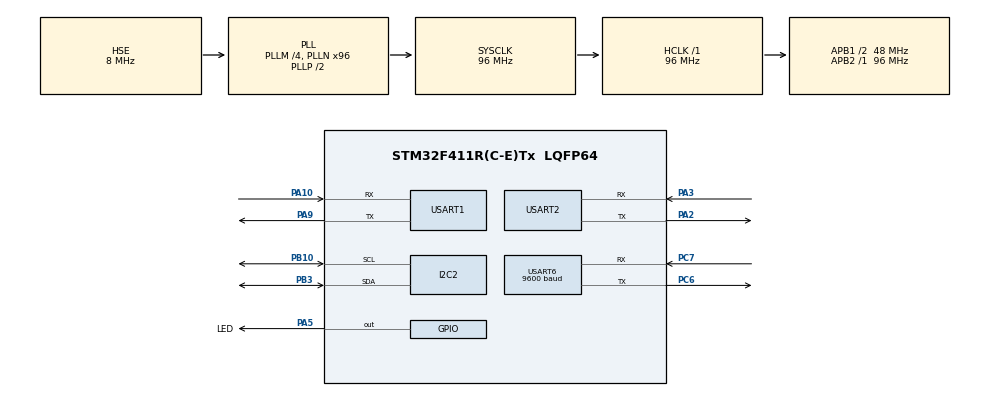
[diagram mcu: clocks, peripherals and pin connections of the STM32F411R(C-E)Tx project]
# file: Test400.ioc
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Dma.Request0=USART2_TX
Dma.USART2_TX.0.Direction=DMA_MEMORY_TO_PERIPH
Dma.USART2_TX.0.FIFOMode=DMA_FIFOMODE_DISABLE
Dma.USART2_TX.0.Instance=DMA1_Stream6
Dma.USART2_TX.0.MemDataAlignment=DMA_MDATAALIGN_BYTE
Dma.USART2_TX.0.MemInc=DMA_MINC_ENABLE
Dma.USART2_TX.0.Mode=DMA_NORMAL
Dma.USART2_TX.0.PeriphDataAlignment=DMA_PDATAALIGN_BYTE
Dma.USART2_TX.0.PeriphInc=DMA_PINC_DISABLE
Dma.USART2_TX.0.Priority=DMA_PRIORITY_LOW
FREERTOS.INCLUDE_xEventGroupSetBitFromISR=1
FREERTOS.INCLUDE_xTimerPendFunctionCall=1
FREERTOS.Tasks01=defaultTask,0,128,StartDefaultTask,Default,NULL,Dynamic,NULL,NULL;ReadMLX90615,0,128,TsReadMLX90615,Default,NULL,Dynamic,NULL,NULL
FREERTOS.Timers01=myTimer01,Callback01,osTimerPeriodic,Default,NULL,Dynamic,NULL
FREERTOS.configCHECK_FOR_STACK_OVERFLOW=2
FREERTOS.configENABLE_BACKWARD_COMPATIBILITY=0
FREERTOS.configGENERATE_RUN_TIME_STATS=1
FREERTOS.configMINIMAL_STACK_SIZE=128
FREERTOS.configTIMER_TASK_PRIORITY=2
FREERTOS.configUSE_MALLOC_FAILED_HOOK=1
FREERTOS.configUSE_STATS_FORMATTING_FUNCTIONS=0
FREERTOS.configUSE_TIMERS=1
FREERTOS.configUSE_TRACE_FACILITY=1
Mcu.Family=STM32F4
Mcu.Name=STM32F411R(C-E)Tx
Mcu.Package=LQFP64
NVIC.DMA1_Stream6_IRQn=true\:5\:0\:false\:false\:true\:true\:false
NVIC.I2C2_ER_IRQn=true\:5\:0\:false\:false\:true\:true\:true
NVIC.I2C2_EV_IRQn=true\:6\:0\:true\:false\:true\:true\:true
NVIC.PriorityGroup=NVIC_PRIORITYGROUP_4
NVIC.TIM1_TRG_COM_TIM11_IRQn=true\:0\:0\:false\:false\:true\:false\:false
NVIC.TimeBase=TIM1_TRG_COM_TIM11_IRQn
NVIC.TimeBaseIP=TIM11
NVIC.USART2_IRQn=true\:5\:0\:false\:false\:true\:true\:true
NVIC.USART6_IRQn=true\:5\:0\:false\:false\:true\:true\:true
PA10.Mode=Asynchronous
PA10.Signal=USART1_RX
PA2.Mode=Asynchronous
PA2.Signal=USART2_TX
PA3.Mode=Asynchronous
PA3.Signal=USART2_RX
PA5.GPIO_Label=LED
PA5.Signal=GPIO_Output
PA9.Mode=Asynchronous
PA9.Signal=USART1_TX
PB10.GPIO_PuPdOD=GPIO_NOPULL
PB10.Mode=I2C
PB10.Signal=I2C2_SCL
PB3.GPIO_PuPdOD=GPIO_NOPULL
PB3.Mode=I2C
PB3.Signal=I2C2_SDA
PC6.Mode=Asynchronous
PC6.Signal=USART6_TX
PC7.Mode=Asynchronous
PC7.Signal=USART6_RX
PH0\ -\ OSC_IN.Mode=HSE-External-Oscillator
PH0\ -\ OSC_IN.Signal=RCC_OSC_IN
PH1\ -\ OSC_OUT.Mode=HSE-External-Oscillator
PH1\ -\ OSC_OUT.Signal=RCC_OSC_OUT
ProjectManager.HeapSize=0x200
ProjectManager.StackSize=0x400
ProjectManager.TargetToolchain=SW4STM32
RCC.48MHZClocksFreq_Value=48000000
RCC.AHBFreq_Value=96000000
RCC.APB1CLKDivider=RCC_HCLK_DIV2
RCC.APB1Freq_Value=48000000
RCC.APB1TimFreq_Value=96000000
RCC.APB2Freq_Value=96000000
RCC.APB2TimFreq_Value=96000000
RCC.CortexFreq_Value=96000000
RCC.HCLKFreq_Value=96000000
RCC.HSE_VALUE=8000000
RCC.HSI_VALUE=16000000
RCC.LSE_VALUE=32768
RCC.PLLM=4
RCC.PLLN=96
RCC.PLLSourceVirtual=RCC_PLLSOURCE_HSE
RCC.SYSCLKFreq_VALUE=96000000
RCC.SYSCLKSource=RCC_SYSCLKSOURCE_PLLCLK
RCC.VCOOutputFreq_Value=192000000
TIM2.Period=0xffffffff
TIM2.Prescaler=960
USART1.VirtualMode=VM_ASYNC
USART2.VirtualMode=VM_ASYNC
USART6.BaudRate=9600
USART6.Mode=MODE_RX
USART6.VirtualMode=VM_ASYNC
VP_FREERTOS_VS_ENABLE.Mode=Enabled
VP_SYS_VS_tim11.Mode=TIM11
VP_TIM2_VS_ClockSourceINT.Mode=Internal
board=Test400

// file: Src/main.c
/**
  ******************************************************************************
  * File Name          : main.c
  * Description        : Main program body
  ******************************************************************************
  * This notice applies to any and all portions of this file
  * that are not between comment pairs USER CODE BEGIN and
  * USER CODE END. Other portions of this file, whether
  * inserted by the user or by software development tools
  * are owned by their respective copyright owners.
  *
  * Copyright (c) 2017 STMicroelectronics International N.V.
  * All rights reserved.
  *
  * Redistribution and use in source and binary forms, with or without
  * modification, are permitted, provided that the following conditions are met:
  *
  * 1. Redistribution of source code must retain the above copyright notice,
  *    this list of conditions and the following disclaimer.
  * 2. Redistributions in binary form must reproduce the above copyright notice,
  *    this list of conditions and the following disclaimer in the documentation
  *    and/or other materials provided with the distribution.
  * 3. Neither the name of STMicroelectronics nor the names of other
  *    contributors to this software may be used to endorse or promote products
  *    derived from this software without specific written permission.
  * 4. This software, including modifications and/or derivative works of this
  *    software, must execute solely and exclusively on microcontroller or
  *    microprocessor devices manufactured by or for STMicroelectronics.
  * 5. Redistribution and use of this software other than as permitted under
  *    this license is void and will automatically terminate your rights under
  *    this license.
  *
  * THIS SOFTWARE IS PROVIDED BY STMICROELECTRONICS AND CONTRIBUTORS "AS IS"
  * AND ANY EXPRESS, IMPLIED OR STATUTORY WARRANTIES, INCLUDING, BUT NOT
  * LIMITED TO, THE IMPLIED WARRANTIES OF MERCHANTABILITY, FITNESS FOR A
  * PARTICULAR PURPOSE AND NON-INFRINGEMENT OF THIRD PARTY INTELLECTUAL PROPERTY
  * RIGHTS ARE DISCLAIMED TO THE FULLEST EXTENT PERMITTED BY LAW. IN NO EVENT
  * SHALL STMICROELECTRONICS OR CONTRIBUTORS BE LIABLE FOR ANY DIRECT, INDIRECT,
  * INCIDENTAL, SPECIAL, EXEMPLARY, OR CONSEQUENTIAL DAMAGES (INCLUDING, BUT NOT
  * LIMITED TO, PROCUREMENT OF SUBSTITUTE GOODS OR SERVICES; LOSS OF USE, DATA,
  * OR PROFITS; OR BUSINESS INTERRUPTION) HOWEVER CAUSED AND ON ANY THEORY OF
  * LIABILITY, WHETHER IN CONTRACT, STRICT LIABILITY, OR TORT (INCLUDING
  * NEGLIGENCE OR OTHERWISE) ARISING IN ANY WAY OUT OF THE USE OF THIS SOFTWARE,
  * EVEN IF ADVISED OF THE POSSIBILITY OF SUCH DAMAGE.
  *
  ******************************************************************************
  */

#include "main.h"
#include "stm32f4xx_hal.h"
#include "cmsis_os.h"

/* USER CODE BEGIN Includes */
#include <StdIoConnectorRTOS.h>
#include <HIH8000.h>
#include "RTOSStatistics.h"
#include "task.h"
#include "event_groups.h"
/* USER CODE END Includes */

I2C_HandleTypeDef hi2c2;

TIM_HandleTypeDef htim2;

UART_HandleTypeDef huart1;
UART_HandleTypeDef huart2;
UART_HandleTypeDef huart6;
DMA_HandleTypeDef hdma_usart2_tx;

osThreadId defaultTaskHandle;
osThreadId ReadMLX90615Handle;
osTimerId myTimer01Handle;

/* USER CODE BEGIN PV */
/* Private variables ---------------------------------------------------------*/
osThreadId EchoTaskHandle;
osMessageQId RxQueueHandle;
SemaphoreHandle_t mtI2C2;
uint16_t cntr;
/* USER CODE END PV */

void SystemClock_Config(void);
static void MX_GPIO_Init(void);
static void MX_DMA_Init(void);
static void MX_USART2_UART_Init(void);
static void MX_I2C2_Init(void);
static void MX_USART1_UART_Init(void);
static void MX_TIM2_Init(void);
static void MX_USART6_UART_Init(void);
void StartDefaultTask(void const * argument);
void TsReadMLX90615(void const * argument);
void Callback01(void const * argument);

/* USER CODE BEGIN PFP */
/* Private function prototypes -----------------------------------------------*/
void EchoTask(void const * argument);

void vAssertCalled( const char *pcFile, uint32_t ulLine );
void vApplicationMallocFailedHook(void);
void vApplicationStackOverflowHook(TaskHandle_t xTask, signed char *pcTaskName);
/* USER CODE END PFP */

int main(void)
{

  /* MCU Configuration----------------------------------------------------------*/

  /* Reset of all peripherals, Initializes the Flash interface and the Systick. */
  HAL_Init();

  /* Configure the system clock */
  SystemClock_Config();

  /* Initialize all configured peripherals */
  MX_GPIO_Init();
  MX_DMA_Init();
  MX_USART2_UART_Init();
  MX_I2C2_Init();
  MX_USART1_UART_Init();
  MX_TIM2_Init();
  MX_USART6_UART_Init();

  /* USER CODE BEGIN RTOS_MUTEX */
  mtI2C2 = xSemaphoreCreateMutex();
  configASSERT( mtI2C2 != NULL);
  /* USER CODE END RTOS_MUTEX */

  /* Create the timer(s) */
  /* definition and creation of myTimer01 */
  osTimerDef(myTimer01, Callback01);
  myTimer01Handle = osTimerCreate(osTimer(myTimer01), osTimerPeriodic, NULL);

  /* USER CODE BEGIN RTOS_TIMERS */
  xTimerChangePeriod(myTimer01Handle,1000,100);
  /* USER CODE END RTOS_TIMERS */

  /* Create the thread(s) */
  /* definition and creation of defaultTask */
  osThreadDef(defaultTask, StartDefaultTask, osPriorityNormal, 0, 128);
  defaultTaskHandle = osThreadCreate(osThread(defaultTask), NULL);

  /* definition and creation of ReadMLX90615 */
  osThreadDef(ReadMLX90615, TsReadMLX90615, osPriorityNormal, 0, 128);
  ReadMLX90615Handle = osThreadCreate(osThread(ReadMLX90615), NULL);

  /* USER CODE BEGIN RTOS_THREADS */
  	  xTaskCreate(
  			  (TaskFunction_t)EchoTask,
			  "Console Echo",
			  128,
			  NULL,
			  4,
			  &EchoTaskHandle);

  /* add threads, ... */
  /* USER CODE END RTOS_THREADS */

  /* USER CODE BEGIN RTOS_QUEUES */
  SIOC_InitDiag(&huart1);

  RxQueueHandle = xQueueCreate( 32, sizeof(uint8_t));
  SIOC_Init(&huart2, RxQueueHandle);

  HIH8000_Init(&hi2c2);
  RTOSStatisticsInit(&htim2);

  /* USER CODE END RTOS_QUEUES */

  /* Start scheduler */
  osKernelStart();

  /* We should never get here as control is now taken by the scheduler */

  /* Infinite loop */
  while (1)
  {

  }

}

/** System Clock Configuration
*/
void SystemClock_Config(void)
{

  RCC_OscInitTypeDef RCC_OscInitStruct;
  RCC_ClkInitTypeDef RCC_ClkInitStruct;

    /**Configure the main internal regulator output voltage
    */
  __HAL_RCC_PWR_CLK_ENABLE();

  __HAL_PWR_VOLTAGESCALING_CONFIG(PWR_REGULATOR_VOLTAGE_SCALE1);

    /**Initializes the CPU, AHB and APB busses clocks
    */
  RCC_OscInitStruct.OscillatorType = RCC_OSCILLATORTYPE_HSE;
  RCC_OscInitStruct.HSEState = RCC_HSE_ON;
  RCC_OscInitStruct.PLL.PLLState = RCC_PLL_ON;
  RCC_OscInitStruct.PLL.PLLSource = RCC_PLLSOURCE_HSE;
  RCC_OscInitStruct.PLL.PLLM = 4;
  RCC_OscInitStruct.PLL.PLLN = 96;
  RCC_OscInitStruct.PLL.PLLP = RCC_PLLP_DIV2;
  RCC_OscInitStruct.PLL.PLLQ = 4;
  if (HAL_RCC_OscConfig(&RCC_OscInitStruct) != HAL_OK)
  {
    _Error_Handler(__FILE__, __LINE__);
  }

    /**Initializes the CPU, AHB and APB busses clocks
    */
  RCC_ClkInitStruct.ClockType = RCC_CLOCKTYPE_HCLK|RCC_CLOCKTYPE_SYSCLK
                              |RCC_CLOCKTYPE_PCLK1|RCC_CLOCKTYPE_PCLK2;
  RCC_ClkInitStruct.SYSCLKSource = RCC_SYSCLKSOURCE_PLLCLK;
  RCC_ClkInitStruct.AHBCLKDivider = RCC_SYSCLK_DIV1;
  RCC_ClkInitStruct.APB1CLKDivider = RCC_HCLK_DIV2;
  RCC_ClkInitStruct.APB2CLKDivider = RCC_HCLK_DIV1;

  if (HAL_RCC_ClockConfig(&RCC_ClkInitStruct, FLASH_LATENCY_3) != HAL_OK)
  {
    _Error_Handler(__FILE__, __LINE__);
  }

    /**Configure the Systick interrupt time
    */
  HAL_SYSTICK_Config(HAL_RCC_GetHCLKFreq()/1000);

    /**Configure the Systick
    */
  HAL_SYSTICK_CLKSourceConfig(SYSTICK_CLKSOURCE_HCLK);

  /* SysTick_IRQn interrupt configuration */
  HAL_NVIC_SetPriority(SysTick_IRQn, 15, 0);
}

/* I2C2 init function */
static void MX_I2C2_Init(void)
{

  hi2c2.Instance = I2C2;
  hi2c2.Init.ClockSpeed = 100000;
  hi2c2.Init.DutyCycle = I2C_DUTYCYCLE_2;
  hi2c2.Init.OwnAddress1 = 0;
  hi2c2.Init.AddressingMode = I2C_ADDRESSINGMODE_7BIT;
  hi2c2.Init.DualAddressMode = I2C_DUALADDRESS_DISABLE;
  hi2c2.Init.OwnAddress2 = 0;
  hi2c2.Init.GeneralCallMode = I2C_GENERALCALL_DISABLE;
  hi2c2.Init.NoStretchMode = I2C_NOSTRETCH_DISABLE;
  if (HAL_I2C_Init(&hi2c2) != HAL_OK)
  {
    _Error_Handler(__FILE__, __LINE__);
  }

}

/* TIM2 init function */
static void MX_TIM2_Init(void)
{

  TIM_ClockConfigTypeDef sClockSourceConfig;
  TIM_MasterConfigTypeDef sMasterConfig;

  htim2.Instance = TIM2;
  htim2.Init.Prescaler = 960;
  htim2.Init.CounterMode = TIM_COUNTERMODE_UP;
  htim2.Init.Period = 0xffffffff;
  htim2.Init.ClockDivision = TIM_CLOCKDIVISION_DIV1;
  if (HAL_TIM_Base_Init(&htim2) != HAL_OK)
  {
    _Error_Handler(__FILE__, __LINE__);
  }

  sClockSourceConfig.ClockSource = TIM_CLOCKSOURCE_INTERNAL;
  if (HAL_TIM_ConfigClockSource(&htim2, &sClockSourceConfig) != HAL_OK)
  {
    _Error_Handler(__FILE__, __LINE__);
  }

  sMasterConfig.MasterOutputTrigger = TIM_TRGO_RESET;
  sMasterConfig.MasterSlaveMode = TIM_MASTERSLAVEMODE_DISABLE;
  if (HAL_TIMEx_MasterConfigSynchronization(&htim2, &sMasterConfig) != HAL_OK)
  {
    _Error_Handler(__FILE__, __LINE__);
  }

}

/* USART1 init function */
static void MX_USART1_UART_Init(void)
{

  huart1.Instance = USART1;
  huart1.Init.BaudRate = 115200;
  huart1.Init.WordLength = UART_WORDLENGTH_8B;
  huart1.Init.StopBits = UART_STOPBITS_1;
  huart1.Init.Parity = UART_PARITY_NONE;
  huart1.Init.Mode = UART_MODE_TX_RX;
  huart1.Init.HwFlowCtl = UART_HWCONTROL_NONE;
  huart1.Init.OverSampling = UART_OVERSAMPLING_16;
  if (HAL_UART_Init(&huart1) != HAL_OK)
  {
    _Error_Handler(__FILE__, __LINE__);
  }

}

/* USART2 init function */
static void MX_USART2_UART_Init(void)
{

  huart2.Instance = USART2;
  huart2.Init.BaudRate = 115200;
  huart2.Init.WordLength = UART_WORDLENGTH_8B;
  huart2.Init.StopBits = UART_STOPBITS_1;
  huart2.Init.Parity = UART_PARITY_NONE;
  huart2.Init.Mode = UART_MODE_TX_RX;
  huart2.Init.HwFlowCtl = UART_HWCONTROL_NONE;
  huart2.Init.OverSampling = UART_OVERSAMPLING_16;
  if (HAL_UART_Init(&huart2) != HAL_OK)
  {
    _Error_Handler(__FILE__, __LINE__);
  }

}

/* USART6 init function */
static void MX_USART6_UART_Init(void)
{

  huart6.Instance = USART6;
  huart6.Init.BaudRate = 9600;
  huart6.Init.WordLength = UART_WORDLENGTH_8B;
  huart6.Init.StopBits = UART_STOPBITS_1;
  huart6.Init.Parity = UART_PARITY_NONE;
  huart6.Init.Mode = UART_MODE_RX;
  huart6.Init.HwFlowCtl = UART_HWCONTROL_NONE;
  huart6.Init.OverSampling = UART_OVERSAMPLING_16;
  if (HAL_UART_Init(&huart6) != HAL_OK)
  {
    _Error_Handler(__FILE__, __LINE__);
  }

}

static void MX_DMA_Init(void)
{
  /* DMA controller clock enable */
  __HAL_RCC_DMA1_CLK_ENABLE();

  /* DMA interrupt init */
  /* DMA1_Stream6_IRQn interrupt configuration */
  HAL_NVIC_SetPriority(DMA1_Stream6_IRQn, 5, 0);
  HAL_NVIC_EnableIRQ(DMA1_Stream6_IRQn);

}

/** Configure pins as
        * Analog
        * Input
        * Output
        * EVENT_OUT
        * EXTI
*/
static void MX_GPIO_Init(void)
{

  GPIO_InitTypeDef GPIO_InitStruct;

  /* GPIO Ports Clock Enable */
  __HAL_RCC_GPIOH_CLK_ENABLE();
  __HAL_RCC_GPIOA_CLK_ENABLE();
  __HAL_RCC_GPIOB_CLK_ENABLE();
  __HAL_RCC_GPIOC_CLK_ENABLE();

  /*Configure GPIO pin Output Level */
  HAL_GPIO_WritePin(LED_GPIO_Port, LED_Pin, GPIO_PIN_RESET);

  /*Configure GPIO pin : LED_Pin */
  GPIO_InitStruct.Pin = LED_Pin;
  GPIO_InitStruct.Mode = GPIO_MODE_OUTPUT_PP;
  GPIO_InitStruct.Pull = GPIO_NOPULL;
  GPIO_InitStruct.Speed = GPIO_SPEED_FREQ_LOW;
  HAL_GPIO_Init(LED_GPIO_Port, &GPIO_InitStruct);

}

/* USER CODE BEGIN 4 */
void HAL_UART_RxCpltCallback(UART_HandleTypeDef *huart) {
//	BaseType_t xHigherPriorityTaskWoken = pdFALSE;

/*
	txBuff = rxBuff;
	HAL_UART_Receive_IT(&huart2, &rxBuff, 1);

	configASSERT( SendCharHandle != NULL );
	vTaskNotifyGiveFromISR( SendCharHandle, &xHigherPriorityTaskWoken );
	portYIELD_FROM_ISR( xHigherPriorityTaskWoken );
*/
	}

void vAssertCalled( const char *pcFile, uint32_t ulLine ) {
	taskDISABLE_INTERRUPTS();
	SIOC_SendDiagPort(pcFile);
	SIOC_SendDiagPortUInt32(ulLine);
	for( ;; );
	}

void vApplicationMallocFailedHook(void) {
	SIOC_SendDiagPort("malloc-fault\r\n");
	for(;;) { }
	}

void vApplicationStackOverflowHook(TaskHandle_t xTask, signed char *pcTaskName) {
	SIOC_SendDiagPort("Stack overflow in ");
	SIOC_SendDiagPort(pcTaskName);
	for(;;) { }
	}

void EchoTask(void const * argument) {
	uint8_t c;
	uint8_t b[80+3];
	uint8_t i;
	uint8_t crlf;

	i=0;
	crlf = 0; // cr = 1; lf = 2; crlf = 3

	for(;;) {

		if (ulTaskNotifyTake( pdTRUE, 1 )!=0) { // received notification
			if (crlf==1) {
				printf("%s\r",b);
				i=0;
				crlf=0;
				}
			else if (crlf==2) {
				printf("%s\n",b);
				i=0;
				crlf=0;
				}
			}

		if (xQueueReceive(RxQueueHandle, &c, 1)) {
			b[i++]=c;
			if (i==80) {
				crlf = 3;
				b[i]=0;
				}
			else if (c==13) {
				crlf = 1;
				b[i]=0;
				}
			else if (c==10) {
				crlf = 2;
				b[i]=0;
				}
			}
		}
	}

/* USER CODE END 4 */

/* StartDefaultTask function */
void StartDefaultTask(void const * argument)
{

	for(;;) {
		osDelay(1);
		}
}

/* TsReadMLX90615 function */
void TsReadMLX90615(void const * argument)
{
  /* USER CODE BEGIN TsReadMLX90615 */
  /* Infinite loop */
	for(;;) {
		uint8_t cmd = 0x27;
		HAL_StatusTypeDef rc;
		uint16_t a[3];

		ulTaskNotifyTake( pdTRUE, portMAX_DELAY );

		if( xSemaphoreTake( mtI2C2, ( TickType_t ) 200 ) == pdTRUE ) {

//    	for (cmd=0x10; cmd<0x30; cmd++) {

			rc =  HAL_I2C_Mem_Read(&hi2c2, 0xb6, &cmd, I2C_MEMADD_SIZE_16BIT, &a[0], 1, 1000);

//			rc = HAL_I2C_Master_Transmit(&hi2c2, 0xb6, &cmd, 1, 20);
			xSemaphoreGive( mtI2C2 );
			if (rc!=0) {
				printf("HAL_I2C_Mem_Read: rc = %d   i2c-errorcode = %d\r\n", rc, hi2c2.ErrorCode);
				}
/*
			rc = HAL_I2C_Master_Receive(&hi2c2, 0xb7, &a[0], 3, 1000);
			xSemaphoreGive( mtI2C2 );
			if (rc!=0) {
				printf("I2C-Receive: rc = %d\r\n", rc);
				continue;
				}
*/
    		printf("%02x: %04x %04x %04x\r\n", cmd, a[0], a[1], a[2]);

			}

    //	uint16_t tmp = T0raw[0];
    //	tmp = tmp + (T0raw[1]<<8);

    //	T0 = (double)tmp * 0.02 - 273.15;

		}
  /* USER CODE END TsReadMLX90615 */
}

/* Callback01 function */
void Callback01(void const * argument)
{
  /* USER CODE BEGIN Callback01 */
	HAL_GPIO_TogglePin(LED_GPIO_Port, LED_Pin);

	xTaskNotifyGive(RTOSStatisticsHandle);
	xTaskNotifyGive(ReadHIH8000Handle);
	xTaskNotifyGive(EchoTaskHandle);
	xTaskNotifyGive(ReadMLX90615Handle);

  /* USER CODE END Callback01 */
}

void HAL_TIM_PeriodElapsedCallback(TIM_HandleTypeDef *htim)
{
  if (htim->Instance == TIM11) {
    HAL_IncTick();
  }
}

void _Error_Handler(char * file, int line)
{
  /* USER CODE BEGIN Error_Handler_Debug */
	vAssertCalled(file,line);
  /* User can add his own implementation to report the HAL error return state */
  while(1)
  {
  }
  /* USER CODE END Error_Handler_Debug */
}

#ifdef USE_FULL_ASSERT

/**
   * @brief Reports the name of the source file and the source line number
   * where the assert_param error has occurred.
   * @param file: pointer to the source file name
   * @param line: assert_param error line source number
   * @retval None
   */
void assert_failed(uint8_t* file, uint32_t line)
{
  /* USER CODE BEGIN 6 */
	vAssertCalled((char*)file,line);
	while(1) { }
  /* User can add his own implementation to report the file name and line number,
    ex: printf("Wrong parameters value: file %s on line %d\r\n", file, line) */
  /* USER CODE END 6 */

}

#endif

/************************ (C) COPYRIGHT STMicroelectronics *****END OF FILE****/

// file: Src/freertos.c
/**
  ******************************************************************************
  * File Name          : freertos.c
  * Description        : Code for freertos applications
  ******************************************************************************
  * This notice applies to any and all portions of this file
  * that are not between comment pairs USER CODE BEGIN and
  * USER CODE END. Other portions of this file, whether
  * inserted by the user or by software development tools
  * are owned by their respective copyright owners.
  *
  * Copyright (c) 2017 STMicroelectronics International N.V.
  * All rights reserved.
  *
  * Redistribution and use in source and binary forms, with or without
  * modification, are permitted, provided that the following conditions are met:
  *
  * 1. Redistribution of source code must retain the above copyright notice,
  *    this list of conditions and the following disclaimer.
  * 2. Redistributions in binary form must reproduce the above copyright notice,
  *    this list of conditions and the following disclaimer in the documentation
  *    and/or other materials provided with the distribution.
  * 3. Neither the name of STMicroelectronics nor the names of other
  *    contributors to this software may be used to endorse or promote products
  *    derived from this software without specific written permission.
  * 4. This software, including modifications and/or derivative works of this
  *    software, must execute solely and exclusively on microcontroller or
  *    microprocessor devices manufactured by or for STMicroelectronics.
  * 5. Redistribution and use of this software other than as permitted under
  *    this license is void and will automatically terminate your rights under
  *    this license.
  *
  * THIS SOFTWARE IS PROVIDED BY STMICROELECTRONICS AND CONTRIBUTORS "AS IS"
  * AND ANY EXPRESS, IMPLIED OR STATUTORY WARRANTIES, INCLUDING, BUT NOT
  * LIMITED TO, THE IMPLIED WARRANTIES OF MERCHANTABILITY, FITNESS FOR A
  * PARTICULAR PURPOSE AND NON-INFRINGEMENT OF THIRD PARTY INTELLECTUAL PROPERTY
  * RIGHTS ARE DISCLAIMED TO THE FULLEST EXTENT PERMITTED BY LAW. IN NO EVENT
  * SHALL STMICROELECTRONICS OR CONTRIBUTORS BE LIABLE FOR ANY DIRECT, INDIRECT,
  * INCIDENTAL, SPECIAL, EXEMPLARY, OR CONSEQUENTIAL DAMAGES (INCLUDING, BUT NOT
  * LIMITED TO, PROCUREMENT OF SUBSTITUTE GOODS OR SERVICES; LOSS OF USE, DATA,
  * OR PROFITS; OR BUSINESS INTERRUPTION) HOWEVER CAUSED AND ON ANY THEORY OF
  * LIABILITY, WHETHER IN CONTRACT, STRICT LIABILITY, OR TORT (INCLUDING
  * NEGLIGENCE OR OTHERWISE) ARISING IN ANY WAY OUT OF THE USE OF THIS SOFTWARE,
  * EVEN IF ADVISED OF THE POSSIBILITY OF SUCH DAMAGE.
  *
  ******************************************************************************
  */

#include "FreeRTOS.h"
#include "task.h"

/* Hook prototypes */
void configureTimerForRunTimeStats(void);
unsigned long getRunTimeCounterValue(void);
void vApplicationStackOverflowHook(TaskHandle_t xTask, signed char *pcTaskName);
void vApplicationMallocFailedHook(void);

/* USER CODE BEGIN 1 */
/* Functions needed when configGENERATE_RUN_TIME_STATS is on */
__weak void configureTimerForRunTimeStats(void)
{

}

__weak unsigned long getRunTimeCounterValue(void)
{
return 0;
}
/* USER CODE END 1 */

/* USER CODE BEGIN 4 */
__weak void vApplicationStackOverflowHook(TaskHandle_t xTask, signed char *pcTaskName)
{
   /* Run time stack overflow checking is performed if
   configCHECK_FOR_STACK_OVERFLOW is defined to 1 or 2. This hook function is
   called if a stack overflow is detected. */
}
/* USER CODE END 4 */

/* USER CODE BEGIN 5 */
__weak void vApplicationMallocFailedHook(void)
{
   /* vApplicationMallocFailedHook() will only be called if
   configUSE_MALLOC_FAILED_HOOK is set to 1 in FreeRTOSConfig.h. It is a hook
   function that will get called if a call to pvPortMalloc() fails.
   pvPortMalloc() is called internally by the kernel whenever a task, queue,
   timer or semaphore is created. It is also called by various parts of the
   demo application. If heap_1.c or heap_2.c are used, then the size of the
   heap available to pvPortMalloc() is defined by configTOTAL_HEAP_SIZE in
   FreeRTOSConfig.h, and the xPortGetFreeHeapSize() API function can be used
   to query the size of free heap space that remains (although it does not
   provide information on how the remaining heap might be fragmented). */
}
/* USER CODE END 5 */

/************************ (C) COPYRIGHT STMicroelectronics *****END OF FILE****/
